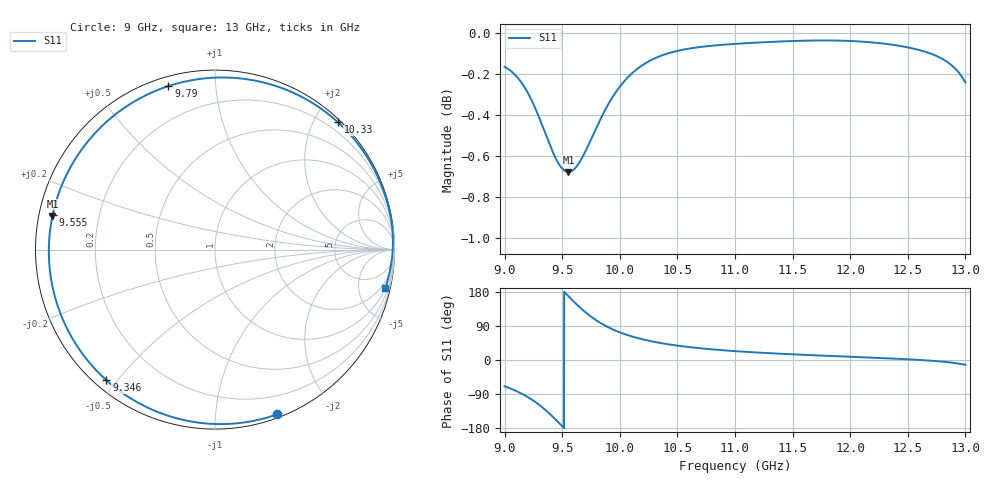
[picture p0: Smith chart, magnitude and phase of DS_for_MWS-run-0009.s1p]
! TOUCHSTONE file generated by CST DESIGN STUDIO
! Date and time: Tue Feb  4 15:43:11 2025
! Project name: C:\Work\MatlabApps\UnitCellOptimizationMatlab\CST\unitcell.cst
! Tree item: Tasks\Sweep1\SPara1\S-Parameters
! Header version: 2024
! Port assignment regex: !\s*Touchstone port\s*([0-9]+)\s*=\s*(CST MWS port|CST DES external port|CST DES block port)\s*(.+)\s* \(\"(.*)\"\)(\s*mode\s*([0-9]+))?.*
! Touchstone port assignment:
! Touchstone port 1 = CST DES external port 1 ("")
# GHz S MA R 50
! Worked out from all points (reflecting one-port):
!   4001 points, 9 GHz to 13 GHz, reference 50 ohm
!   lowest |S11| = -0.7 dB at 9.554 GHz (marker M1), VSWR 25.65, Z = 1.97 + j5.09 ohm
!   phase of S11 starts at -69 deg and turns -303 deg over the sweep
!   S11 on the Smith chart (normalised r, x): 9 GHz: 0.03, -1.44; 9.346 GHz: 0.03, -0.47; 9.555 GHz: 0.04, +0.10; 9.79 GHz: 0.04, +0.75; 10.33 GHz: 0.04, +2.36; 13 GHz: 1.14, -8.92
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9  0.981 -69.5
9.096  0.9763 -81.2
9.203  0.9667 -98.2
9.278  0.9568 -113.4
9.346  0.9463 -129.7
9.387  0.9399 -140.8
9.43  0.9338 -153.2
9.466  0.9296 -164.1
9.5  0.9267 -174.7
9.554  0.9249 168.4
9.555  0.9249 168.0
9.61  0.9268 151.3
9.674  0.9325 133.2
9.73  0.9394 119.1
9.79  0.9473 105.9
9.882  0.9587 89.2
10  0.9702 73.0
10.073  0.9755 65.1
10.151  0.9799 58.2
10.332  0.9865 46.0
10.5  0.9898 37.9
10.72  0.9921 30.3
11  0.9937 23.4
11.5  0.9953 15.0
12  0.9953 8.5
12.5  0.9918 1.9
12.797  0.9855 -4.2
13  0.9724 -12.6
